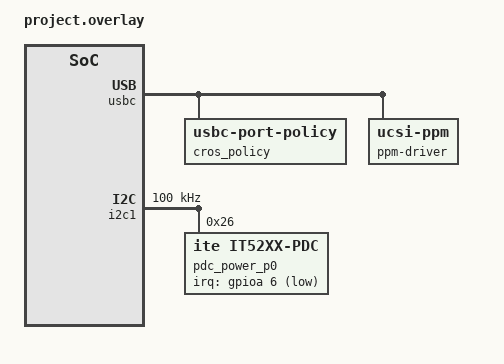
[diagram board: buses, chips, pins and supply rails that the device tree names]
/* Copyright 2023 The ChromiumOS Authors
 * Use of this source code is governed by a BSD-style license that can be
 * found in the LICENSE file.
 */

 / {
	aliases {
		gpio-wp = &ec_wp_l;
	};

	named-gpios {
		compatible = "named-gpios";

		ec_wp_l: write-protect {
			gpios = <&gpioa 0 GPIO_INPUT>;
		};
		gpio_ec_i2c_pdc0_sm_int_odl: ec_i2c_pdc0_sm_int_odl {
			gpios = <&gpioa 6 (GPIO_INPUT | GPIO_ACTIVE_LOW)>;
		};
		/* unimplemented GPIOs */
		entering-rw {
			enum-name = "GPIO_ENTERING_RW";
		};
	};

        /*
	gpio-interrupts {
		compatible = "cros-ec,gpio-interrupts";

		int_gpio_ec_i2c_pdc0_sm_int_odl: gpio_ec_i2c_pdc0_sm_int_odl {
		         irq-pin = <&gpio_ec_i2c_pdc0_sm_int_odl>;
		         flags = <GPIO_INT_EDGE_FALLING>;
		         handler = "pdc_interrupt_callback";
		};
	};
	*/

	named-i2c-ports {
		compatible = "named-i2c-ports";

                /*
		smbus1 {
			i2c-port = <&i2c1>;
			enum-names = "I2C_1";
		};
		*/
		i2c_ec_i2c_pdc_sm_scl_3v3: ec_i2c_pdc_sm_scl_3v3 {
			i2c-port = <&i2c1>;
			enum-names = "I2C_PORT_PDC_SM";
		};
	};

	usbc {
		#address-cells = <1>;
		#size-cells = <0>;
		cros_policy: usbc-policy {
			compatible = "usbc-port-policy";
			unattached_rp_value = "TC_CURRENT_1_5A";
			unattached_cc_mode = "CCOM_RD";
			unattached_try = "DRP_TRY_SRC";
		};

		usbc_port0: port0@0 {
			compatible = "named-usbc-port";
			reg = <0>;
			/* chg = <&charger_bq25720>;  it82002_evb doesn't have charger => try empty charger functions */
			pdc = <&pdc_power_p0>;
			policy = <&cros_policy>;
		};

		ppm-driver {
			compatible = "ucsi-ppm";
		};
	};
};

&i2c1 {
	status = "okay";
	clock-frequency = <I2C_BITRATE_STANDARD>;
	pinctrl-0 = <&i2c1_clk_gpc1_default
		     &i2c1_data_gpc2_default>;
	pinctrl-names = "default";
	label = "I2C_1";

	pdc_power_p0: it52xx-pdc@26 {
		compatible = "ite,it52xx-pdc";
		reg = < 0x26 >; /* i2c: 7b'0x40, TCPC: 7b'0x26 */
		irq-gpios = < &gpioa 6 GPIO_ACTIVE_LOW>;
		/* ccd; */
	};
};
